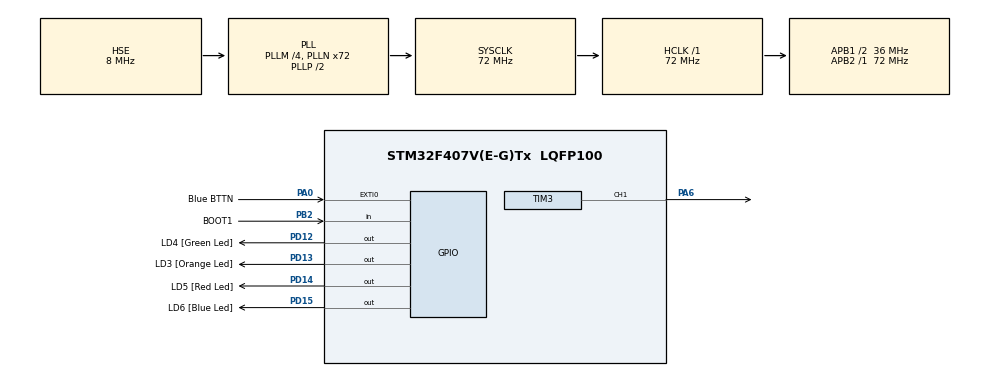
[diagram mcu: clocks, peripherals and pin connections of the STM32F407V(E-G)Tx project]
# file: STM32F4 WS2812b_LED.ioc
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Dma.Request0=TIM3_CH1/TRIG
Dma.TIM3_CH1/TRIG.0.Direction=DMA_MEMORY_TO_PERIPH
Dma.TIM3_CH1/TRIG.0.FIFOMode=DMA_FIFOMODE_DISABLE
Dma.TIM3_CH1/TRIG.0.Instance=DMA1_Stream4
Dma.TIM3_CH1/TRIG.0.MemDataAlignment=DMA_MDATAALIGN_HALFWORD
Dma.TIM3_CH1/TRIG.0.MemInc=DMA_MINC_ENABLE
Dma.TIM3_CH1/TRIG.0.Mode=DMA_NORMAL
Dma.TIM3_CH1/TRIG.0.PeriphDataAlignment=DMA_PDATAALIGN_HALFWORD
Dma.TIM3_CH1/TRIG.0.PeriphInc=DMA_PINC_DISABLE
Dma.TIM3_CH1/TRIG.0.Priority=DMA_PRIORITY_VERY_HIGH
Mcu.Family=STM32F4
Mcu.Name=STM32F407V(E-G)Tx
Mcu.Package=LQFP100
NVIC.DMA1_Stream4_IRQn=true\:0\:0\:false\:false\:true\:false\:true\:true
NVIC.EXTI0_IRQn=true\:0\:0\:false\:false\:true\:true\:true\:true
NVIC.PriorityGroup=NVIC_PRIORITYGROUP_0
NVIC.TIM3_IRQn=true\:0\:0\:false\:false\:true\:true\:true\:true
PA0-WKUP.GPIO_Label=Blue BTTN
PA0-WKUP.Signal=GPXTI0
PA6.Signal=S_TIM3_CH1
PB2.GPIO_Label=BOOT1
PB2.GPIO_Mode=GPIO_MODE_INPUT
PB2.GPIO_PuPd=GPIO_NOPULL
PB2.Signal=GPIO_Input
PC14-OSC32_IN.GPIO_Label=PC14-OSC32_IN
PC14-OSC32_IN.Signal=RCC_OSC32_IN
PC15-OSC32_OUT.GPIO_Label=PC15-OSC32_OUT
PC15-OSC32_OUT.Signal=RCC_OSC32_OUT
PD12.GPIO_Label=LD4 [Green Led]
PD12.GPIO_PuPd=GPIO_NOPULL
PD12.GPIO_Speed=GPIO_SPEED_FREQ_LOW
PD12.Signal=GPIO_Output
PD13.GPIO_Label=LD3 [Orange Led]
PD13.GPIO_PuPd=GPIO_NOPULL
PD13.GPIO_Speed=GPIO_SPEED_FREQ_LOW
PD13.Signal=GPIO_Output
PD14.GPIO_Label=LD5 [Red Led]
PD14.GPIO_PuPd=GPIO_NOPULL
PD14.GPIO_Speed=GPIO_SPEED_FREQ_LOW
PD14.Signal=GPIO_Output
PD15.GPIO_Label=LD6 [Blue Led]
PD15.GPIO_PuPd=GPIO_NOPULL
PD15.GPIO_Speed=GPIO_SPEED_FREQ_LOW
PD15.Signal=GPIO_Output
PH0-OSC_IN.GPIO_Label=PH0-OSC_IN
PH0-OSC_IN.Mode=HSE-External-Clock-Source
PH0-OSC_IN.Signal=RCC_OSC_IN
PH1-OSC_OUT.GPIO_Label=PH1-OSC_OUT
PH1-OSC_OUT.Mode=HSE-External-Clock-Source
PH1-OSC_OUT.Signal=RCC_OSC_OUT
ProjectManager.HeapSize=0x200
ProjectManager.StackSize=0x400
ProjectManager.TargetToolchain=STM32CubeIDE
RCC.48MHZClocksFreq_Value=20571428.57142857
RCC.AHBFreq_Value=72000000
RCC.APB1CLKDivider=RCC_HCLK_DIV2
RCC.APB1Freq_Value=36000000
RCC.APB1TimFreq_Value=72000000
RCC.APB2Freq_Value=72000000
RCC.APB2TimFreq_Value=72000000
RCC.CortexFreq_Value=72000000
RCC.HCLKFreq_Value=72000000
RCC.HSE_VALUE=8000000
RCC.HSI_VALUE=16000000
RCC.LSE_VALUE=32768
RCC.PLLM=4
RCC.PLLN=72
RCC.PLLQ=7
RCC.PLLSourceVirtual=RCC_PLLSOURCE_HSE
RCC.SYSCLKFreq_VALUE=72000000
RCC.SYSCLKSource=RCC_SYSCLKSOURCE_PLLCLK
RCC.VCOOutputFreq_Value=144000000
SH.S_TIM3_CH1.0=TIM3_CH1,PWM Generation1 CH1
TIM3.Channel-PWM\ Generation1\ CH1=TIM_CHANNEL_1
TIM3.Period=90-1
VP_TIM3_VS_ClockSourceINT.Mode=Internal
board=STM32F407G-DISC1

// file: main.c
/* USER CODE BEGIN Header */
/**
  ******************************************************************************
  * @file           : main.c
  * @brief          : Main program body
  ******************************************************************************
  * @attention
  *
  * Copyright (c) 2023 STMicroelectronics.
  * All rights reserved.
  *
  * This software is licensed under terms that can be found in the LICENSE file
  * in the root directory of this software component.
  * If no LICENSE file comes with this software, it is provided AS-IS.
  *
  ******************************************************************************
  */
/* USER CODE END Header */
#include "main.h"

/* USER CODE BEGIN Includes */
#include "math.h"
/* USER CODE END Includes */

TIM_HandleTypeDef htim3;
DMA_HandleTypeDef hdma_tim3_ch1_trig;

void SystemClock_Config(void);
static void MX_GPIO_Init(void);
static void MX_DMA_Init(void);
static void MX_TIM3_Init(void);

/* USER CODE BEGIN 0 */

#define MAX_LED 60
#define USE_BRIGHTNESS 1

uint8_t gLED_DATA[MAX_LED][4];
uint8_t gLED_Mod[MAX_LED][4];
__IO uint8_t gISR_Flag = 0;
int gCount = 0;

volatile int datasentflag=0;

void HAL_TIM_PWM_PulseFinishedCallback(TIM_HandleTypeDef *htim)
{
	HAL_TIM_PWM_Stop_DMA(&htim3, TIM_CHANNEL_1);
	datasentflag = 1;
}

void Set_LED (int LEDnum, int R, int G, int B){
		gLED_DATA[LEDnum][0] = LEDnum;
		gLED_DATA[LEDnum][1] = G;
		gLED_DATA[LEDnum][2] = R;
		gLED_DATA[LEDnum][3] = B;
}

#define PI 3.14159265
void Set_Brightness (int brightness)  // 0-45
{
	#if USE_BRIGHTNESS

		if (brightness > 45) brightness = 45;
		for (int i=0; i<MAX_LED; i++)
		{
			gLED_Mod[i][0] = gLED_DATA[i][0];
			for (int j=1; j<4; j++)
			{
				float angle = 90-brightness;  // in degrees
				angle = angle*PI / 180;  // in rad
				gLED_Mod[i][j] = (gLED_DATA[i][j])/(tan(angle));
			}
		}

	#endif

}

uint16_t pwmData[(24*MAX_LED)+50];

void WS2812_Send (void)
{
	uint32_t indx=0;
	uint32_t color;

	for (int i= 0; i<MAX_LED; i++)
	{
#if USE_BRIGHTNESS
		color = ((gLED_Mod[i][1]<<16) | (gLED_Mod[i][2]<<8) | (gLED_Mod[i][3]));
#else
		color = ((gLED_DATA[i][1]<<16) | (gLED_DATA[i][2]<<8) | (gLED_DATA[i][3]));
#endif

		for (int i=23; i>=0; i--)
		{
			if (color&(1<<i))
			{
				pwmData[indx] = 60;  // 2/3 of 90
			}

			else pwmData[indx] = 30;  // 1/3 of 90

			indx++;
		}

	}

	for (int i=0; i<50; i++)
	{
		pwmData[indx] = 0;
		indx++;
	}

	HAL_TIM_PWM_Start_DMA(&htim3, TIM_CHANNEL_1, (uint32_t *)pwmData, indx);
	while (!datasentflag){};
	datasentflag = 0;
}

void Reset_LED (void)
{
	for (int i=0; i<MAX_LED; i++)
	{
		gLED_DATA[i][0] = i;
		gLED_DATA[i][1] = 0;
		gLED_DATA[i][2] = 0;
		gLED_DATA[i][3] = 0;
	}

}
uint16_t effStep = 0;

uint8_t rainbow_left() {
	// Strip ID: 0 - Effect: Rainbow - LEDS: 60
	    // Steps: 28 - Delay: 6
	    // Colors: 3 (255.0.0, 0.255.0, 0.0.255)
	    // Options: rainbowlen=60, toLeft=false,
	  //if(millis() - strip_0.effStart < 6 * (strip_0.effStep)) return 0x00;
	  float factor1, factor2;
	  uint16_t ind;
	  for(uint16_t j=0;j<60;j++) {
	    ind = 28 - (int16_t)(effStep - j * 0.4666666666666667) % 28;
	    switch((int)((ind % 28) / 9.333333333333334)) {
	      case 0: factor1 = 1.0 - ((float)(ind % 28 - 0 * 9.333333333333334) / 9.333333333333334);
	              factor2 = (float)((int)(ind - 0) % 28) / 9.333333333333334;
	              Set_LED(j, 255 * factor1 + 0 * factor2, 0 * factor1 + 255 * factor2, 0 * factor1 + 0 * factor2);
	              Set_Brightness(40);
	              WS2812_Send();
	              break;
	      case 1: factor1 = 1.0 - ((float)(ind % 28 - 1 * 9.333333333333334) / 9.333333333333334);
	              factor2 = (float)((int)(ind - 9.333333333333334) % 28) / 9.333333333333334;
	              Set_LED(j, 0 * factor1 + 0 * factor2, 255 * factor1 + 0 * factor2, 0 * factor1 + 255 * factor2);
	              Set_Brightness(40);
	              WS2812_Send();
	              break;
	      case 2: factor1 = 1.0 - ((float)(ind % 28 - 2 * 9.333333333333334) / 9.333333333333334);
	              factor2 = (float)((int)(ind - 18.666666666666668) % 28) / 9.333333333333334;
	              Set_LED(j, 0 * factor1 + 255 * factor2, 0 * factor1 + 0 * factor2, 255 * factor1 + 0 * factor2);
	              Set_Brightness(40);
	              WS2812_Send();
	              break;
	    }
	  }
	  if(effStep >= 28) {effStep = 0; return 0x03; }
	  else effStep++;
	  return 0x01;
	  HAL_Delay(6);
	}

/* USER CODE END 0 */

int main(void)
{

  /* MCU Configuration--------------------------------------------------------*/

  /* Reset of all peripherals, Initializes the Flash interface and the Systick. */
  HAL_Init();

  /* Configure the system clock */
  SystemClock_Config();

  /* Initialize all configured peripherals */
  MX_GPIO_Init();
  MX_DMA_Init();
  MX_TIM3_Init();
  /* USER CODE BEGIN 2 */

  Set_Brightness(40);
  WS2812_Send();

  /* USER CODE END 2 */

  /* Infinite loop */
  while (1)
  {

    /* USER CODE BEGIN 3 */

	  if(gISR_Flag){
		  gISR_Flag = 0; //disable flag
		  gCount ++;

		  Reset_LED();
		  Set_Brightness(0);
		  WS2812_Send();

		  if(gCount > 6){
			  gCount = 0;
		  }
	  }

	  if (gCount == 1){ //All Red
			  for (int i=0; i<MAX_LED; i++)
				{
				  Set_LED(i,255,0,0);
				}
		  		Set_Brightness(40);
		  		WS2812_Send();
	  }
	  else if (gCount == 2){ //All Green
	  		  for (int i=0; i<MAX_LED; i++)
	  		  	{
	  			  Set_LED(i,0,255,0);
	  		  	}
		  		Set_Brightness(40);
		  		WS2812_Send();

	  }
	  else if (gCount == 3){ //All Blue
	  		  for (int i=0; i<MAX_LED; i++)
	  	  		  {
	  			  	Set_LED(i,0,0,255);
	  	  		  }
	  		Set_Brightness(40);
	  		WS2812_Send();
	  }
	  else if(gCount == 4){ //Rainbow
		  rainbow_left();
	  }

	  else if(gCount == 5){
		  for(int i = 0; i < MAX_LED; i++){

			  Set_LED(i,0,0,255);
			  Set_Brightness(40);
			  WS2812_Send();

		  }

		  for(int i = 0; i < MAX_LED; i++){
			  //Reset_LED();
			  Set_LED(i,255,0,0);
			  Set_Brightness(40);
			  WS2812_Send();
			  //HAL_Delay(100);
		  }

	  }

	  else if(gCount == 6){
		  for(int i = 0; i <30; i++){
			  Reset_LED();
			  Set_LED(i,255,0,0);
			  Set_LED((MAX_LED - i),0,0,255);
			  Set_Brightness(40);
			  WS2812_Send();
		  }
		  for(int i = 0; i <= 30; i++){
			  Set_LED(30-i,255,0,255);
			  Set_LED(30+i,255,0,255);
			  Set_Brightness(40);
			  WS2812_Send();
			  HAL_Delay(30);

		  }

	  }

	  else{ // All off
		  Reset_LED();
		  Set_Brightness(0);
		  WS2812_Send();
	  }

  }
  /* USER CODE END 3 */
}

void SystemClock_Config(void)
{
  RCC_OscInitTypeDef RCC_OscInitStruct = {0};
  RCC_ClkInitTypeDef RCC_ClkInitStruct = {0};

  /** Configure the main internal regulator output voltage
  */
  __HAL_RCC_PWR_CLK_ENABLE();
  __HAL_PWR_VOLTAGESCALING_CONFIG(PWR_REGULATOR_VOLTAGE_SCALE1);

  /** Initializes the RCC Oscillators according to the specified parameters
  * in the RCC_OscInitTypeDef structure.
  */
  RCC_OscInitStruct.OscillatorType = RCC_OSCILLATORTYPE_HSE;
  RCC_OscInitStruct.HSEState = RCC_HSE_BYPASS;
  RCC_OscInitStruct.PLL.PLLState = RCC_PLL_ON;
  RCC_OscInitStruct.PLL.PLLSource = RCC_PLLSOURCE_HSE;
  RCC_OscInitStruct.PLL.PLLM = 4;
  RCC_OscInitStruct.PLL.PLLN = 72;
  RCC_OscInitStruct.PLL.PLLP = RCC_PLLP_DIV2;
  RCC_OscInitStruct.PLL.PLLQ = 7;
  if (HAL_RCC_OscConfig(&RCC_OscInitStruct) != HAL_OK)
  {
    Error_Handler();
  }

  /** Initializes the CPU, AHB and APB buses clocks
  */
  RCC_ClkInitStruct.ClockType = RCC_CLOCKTYPE_HCLK|RCC_CLOCKTYPE_SYSCLK
                              |RCC_CLOCKTYPE_PCLK1|RCC_CLOCKTYPE_PCLK2;
  RCC_ClkInitStruct.SYSCLKSource = RCC_SYSCLKSOURCE_PLLCLK;
  RCC_ClkInitStruct.AHBCLKDivider = RCC_SYSCLK_DIV1;
  RCC_ClkInitStruct.APB1CLKDivider = RCC_HCLK_DIV2;
  RCC_ClkInitStruct.APB2CLKDivider = RCC_HCLK_DIV1;

  if (HAL_RCC_ClockConfig(&RCC_ClkInitStruct, FLASH_LATENCY_2) != HAL_OK)
  {
    Error_Handler();
  }
}

static void MX_TIM3_Init(void)
{

  TIM_ClockConfigTypeDef sClockSourceConfig = {0};
  TIM_MasterConfigTypeDef sMasterConfig = {0};
  TIM_OC_InitTypeDef sConfigOC = {0};

  htim3.Instance = TIM3;
  htim3.Init.Prescaler = 0;
  htim3.Init.CounterMode = TIM_COUNTERMODE_UP;
  htim3.Init.Period = 90-1;
  htim3.Init.ClockDivision = TIM_CLOCKDIVISION_DIV1;
  htim3.Init.AutoReloadPreload = TIM_AUTORELOAD_PRELOAD_DISABLE;
  if (HAL_TIM_Base_Init(&htim3) != HAL_OK)
  {
    Error_Handler();
  }
  sClockSourceConfig.ClockSource = TIM_CLOCKSOURCE_INTERNAL;
  if (HAL_TIM_ConfigClockSource(&htim3, &sClockSourceConfig) != HAL_OK)
  {
    Error_Handler();
  }
  if (HAL_TIM_PWM_Init(&htim3) != HAL_OK)
  {
    Error_Handler();
  }
  sMasterConfig.MasterOutputTrigger = TIM_TRGO_RESET;
  sMasterConfig.MasterSlaveMode = TIM_MASTERSLAVEMODE_DISABLE;
  if (HAL_TIMEx_MasterConfigSynchronization(&htim3, &sMasterConfig) != HAL_OK)
  {
    Error_Handler();
  }
  sConfigOC.OCMode = TIM_OCMODE_PWM1;
  sConfigOC.Pulse = 0;
  sConfigOC.OCPolarity = TIM_OCPOLARITY_HIGH;
  sConfigOC.OCFastMode = TIM_OCFAST_DISABLE;
  if (HAL_TIM_PWM_ConfigChannel(&htim3, &sConfigOC, TIM_CHANNEL_1) != HAL_OK)
  {
    Error_Handler();
  }
  HAL_TIM_MspPostInit(&htim3);

}

static void MX_DMA_Init(void)
{

  /* DMA controller clock enable */
  __HAL_RCC_DMA1_CLK_ENABLE();

  /* DMA interrupt init */
  /* DMA1_Stream4_IRQn interrupt configuration */
  HAL_NVIC_SetPriority(DMA1_Stream4_IRQn, 0, 0);
  HAL_NVIC_EnableIRQ(DMA1_Stream4_IRQn);

}

static void MX_GPIO_Init(void)
{
  GPIO_InitTypeDef GPIO_InitStruct = {0};

  /* GPIO Ports Clock Enable */
  __HAL_RCC_GPIOC_CLK_ENABLE();
  __HAL_RCC_GPIOH_CLK_ENABLE();
  __HAL_RCC_GPIOA_CLK_ENABLE();
  __HAL_RCC_GPIOB_CLK_ENABLE();
  __HAL_RCC_GPIOD_CLK_ENABLE();

  /*Configure GPIO pin Output Level */
  HAL_GPIO_WritePin(GPIOD, LD4_Pin|LD3_Pin|LD5_Pin|LD6_Pin, GPIO_PIN_RESET);

  /*Configure GPIO pin : Blue_BTTN_Pin */
  GPIO_InitStruct.Pin = Blue_BTTN_Pin;
  GPIO_InitStruct.Mode = GPIO_MODE_IT_RISING;
  GPIO_InitStruct.Pull = GPIO_NOPULL;
  HAL_GPIO_Init(Blue_BTTN_GPIO_Port, &GPIO_InitStruct);

  /*Configure GPIO pin : BOOT1_Pin */
  GPIO_InitStruct.Pin = BOOT1_Pin;
  GPIO_InitStruct.Mode = GPIO_MODE_INPUT;
  GPIO_InitStruct.Pull = GPIO_NOPULL;
  HAL_GPIO_Init(BOOT1_GPIO_Port, &GPIO_InitStruct);

  /*Configure GPIO pins : LD4_Pin LD3_Pin LD5_Pin LD6_Pin */
  GPIO_InitStruct.Pin = LD4_Pin|LD3_Pin|LD5_Pin|LD6_Pin;
  GPIO_InitStruct.Mode = GPIO_MODE_OUTPUT_PP;
  GPIO_InitStruct.Pull = GPIO_NOPULL;
  GPIO_InitStruct.Speed = GPIO_SPEED_FREQ_LOW;
  HAL_GPIO_Init(GPIOD, &GPIO_InitStruct);

  /* EXTI interrupt init*/
  HAL_NVIC_SetPriority(EXTI0_IRQn, 0, 0);
  HAL_NVIC_EnableIRQ(EXTI0_IRQn);

}

/* USER CODE BEGIN 4 */
void HAL_GPIO_EXTI_Callback(uint16_t GPIO_Pin){
	if(GPIO_Pin == Blue_BTTN_Pin){
		for(int i = 0; i <= 3000; i++){
			//empty for debounce
		}

		gISR_Flag = 1;
	}
}

/* USER CODE END 4 */

void Error_Handler(void)
{
  __disable_irq();
  while (1)
  {
  }
}
